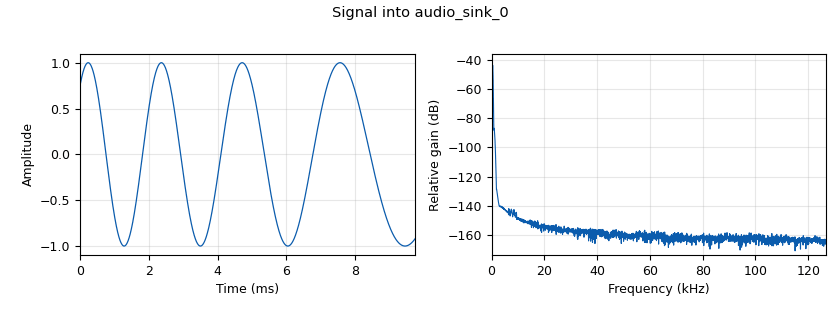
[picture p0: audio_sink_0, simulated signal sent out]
options:
  parameters:
    author: pedro
    generate_options: qt_gui
    id: m180108140_Exp05_A1b
    output_language: python
    title: A1b
  states: {}

blocks:
- name: Am
  id: variable_qtgui_range
  parameters:
    orient: Qt.Horizontal
    start: '0'
    step: '0.25'
    stop: '10'
    value: '0.5'
  states: {}
- name: f_c
  id: variable_qtgui_range
  parameters:
    orient: Qt.Horizontal
    start: '1000'
    step: '100'
    stop: '5000'
    value: '1000'
  states: {}
- name: fm
  id: variable_qtgui_range
  parameters:
    orient: Qt.Horizontal
    start: '0'
    step: '10'
    stop: '1000'
    value: '10'
  states: {}
- name: offset
  id: variable_qtgui_range
  parameters:
    orient: Qt.Horizontal
    start: '0'
    step: '0.25'
    stop: '5'
    value: '0.25'
  states: {}
- name: pi
  id: variable
  parameters:
    value: '3.141592654'
  states: {}
- name: samp_rate
  id: variable
  parameters:
    value: '254000'
  states: {}
- name: analog_sig_source_x_0
  id: analog_sig_source_x
  parameters:
    amp: Am
    freq: fm
    offset: '-offset'
    phase: '0'
    samp_rate: samp_rate
    type: float
    waveform: analog.GR_SIN_WAVE
  states: {}
- name: analog_sig_source_x_0_0
  id: analog_sig_source_x
  parameters:
    amp: '1'
    freq: f_c
    offset: '0'
    phase: '0'
    samp_rate: samp_rate
    type: complex
    waveform: analog.GR_COS_WAVE
  states: {}
- name: audio_sink_0
  id: audio_sink
  parameters:
    samp_rate: samp_rate
  states: {}
- name: blocks_complex_to_real_0
  id: blocks_complex_to_real
  parameters: {}
  states: {}
- name: blocks_multiply_xx_0
  id: blocks_multiply_xx
  parameters:
    type: complex
  states: {}
- name: blocks_throttle_0
  id: blocks_throttle
  parameters:
    samples_per_second: samp_rate
    type: float
  states: {}
- name: blocks_throttle_0_0
  id: blocks_throttle
  parameters:
    samples_per_second: samp_rate
    type: complex
  states: {}
- name: blocks_vco_c_0
  id: blocks_vco_c
  parameters:
    amplitude: '1'
    samp_rate: samp_rate
    sensitivity: 4000*pi
  states: {}

connections:
- [analog_sig_source_x_0, '0', blocks_throttle_0, '0']
- [analog_sig_source_x_0_0, '0', blocks_throttle_0_0, '0']
- [blocks_complex_to_real_0, '0', audio_sink_0, '0']
- [blocks_multiply_xx_0, '0', blocks_complex_to_real_0, '0']
- [blocks_throttle_0, '0', blocks_vco_c_0, '0']
- [blocks_throttle_0_0, '0', blocks_multiply_xx_0, '1']
- [blocks_vco_c_0, '0', blocks_multiply_xx_0, '0']

metadata:
  file_format: 1
